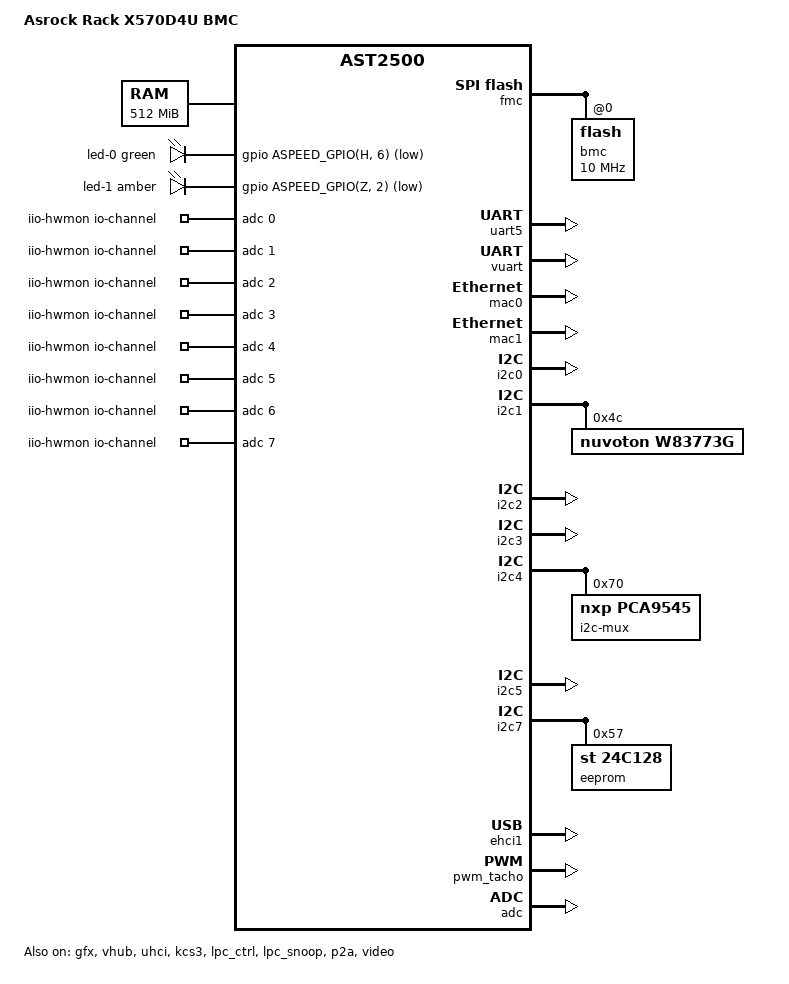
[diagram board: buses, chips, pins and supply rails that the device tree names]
// SPDX-License-Identifier: GPL-2.0+
/dts-v1/;
#include "aspeed-g5.dtsi"
#include <dt-bindings/gpio/aspeed-gpio.h>
#include <dt-bindings/leds/common.h>

/ {
	model = "Asrock Rack X570D4U BMC";
	compatible = "asrock,x570d4u-bmc", "aspeed,ast2500";

	aliases {
		i2c40 = &i2c4mux0ch0;
		i2c41 = &i2c4mux0ch1;
		i2c42 = &i2c4mux0ch2;
		i2c43 = &i2c4mux0ch3;
	};

	chosen {
		stdout-path = &uart5;
	};

	memory@80000000 {
		reg = <0x80000000 0x20000000>;
	};

	reserved-memory {
		#address-cells = <1>;
		#size-cells = <1>;
		ranges;

		pci_memory: region@9a000000 {
			no-map;
			reg = <0x9a000000 0x00010000>; /* 64K */
		};

		video_engine_memory: jpegbuffer {
			size = <0x02800000>;	/* 40M */
			alignment = <0x01000000>;
			compatible = "shared-dma-pool";
			reusable;
		};

		gfx_memory: framebuffer {
			size = <0x01000000>;
			alignment = <0x01000000>;
			compatible = "shared-dma-pool";
			reusable;
		};
	};

	leds {
		compatible = "gpio-leds";

		led-0 {
			/* led-heartbeat-n */
			gpios = <&gpio ASPEED_GPIO(H, 6) GPIO_ACTIVE_LOW>;
			color = <LED_COLOR_ID_GREEN>;
			function = LED_FUNCTION_HEARTBEAT;
			linux,default-trigger = "timer";
		};

		led-1 {
			/* led-fault-n */
			gpios = <&gpio ASPEED_GPIO(Z, 2) GPIO_ACTIVE_LOW>;
			color = <LED_COLOR_ID_AMBER>;
			function = LED_FUNCTION_FAULT;
			panic-indicator;
		};
	};

	iio-hwmon {
		compatible = "iio-hwmon";
		io-channels = <&adc 0>, <&adc 1>, <&adc 2>, <&adc 3>, <&adc 4>,
			<&adc 5>, <&adc 6>, <&adc 7>, <&adc 8>, <&adc 9>,
			<&adc 10>, <&adc 11>, <&adc 12>;
	};
};

&gpio {
	status = "okay";
	gpio-line-names =
	/*  A */ "input-locatorled-n", "", "", "", "", "", "", "",
	/*  B */ "input-bios-post-cmplt-n", "", "", "", "", "", "", "",
	/*  C */ "", "", "", "", "", "", "control-locatorbutton-n", "",
	/*  D */ "button-power-n", "control-power-n", "button-reset-n",
		 "control-reset-n", "", "", "", "",
	/*  E */ "", "", "", "", "", "", "", "",
	/*  F */ "", "", "", "", "", "", "", "",
	/*  G */ "output-hwm-vbat-enable", "input-id0-n", "input-id1-n",
		 "input-id2-n", "input-aux-smb-alert-n", "",
		 "input-psu-smb-alert-n", "",
	/*  H */ "", "", "", "", "input-mfg-mode-n", "",
		 "led-heartbeat-n", "input-case-open-n",
	/*  I */ "", "", "", "", "", "", "", "",
	/*  J */ "output-bmc-ready-n", "", "", "", "", "", "", "",
	/*  K */ "", "", "", "", "", "", "", "",
	/*  L */ "", "", "", "", "", "", "", "",
	/*  M */ "", "", "", "", "", "", "", "",
	/*  N */ "", "", "", "", "", "", "", "",
	/*  O */ "", "", "", "", "", "", "", "",
	/*  P */ "", "", "", "", "", "", "", "",
	/*  Q */ "", "", "", "", "input-bmc-smb-present-n", "", "",
		 "input-pcie-wake-n",
	/*  R */ "", "", "", "", "", "", "", "",
	/*  S */ "input-bmc-pchhot-n", "", "", "", "", "", "", "",
	/*  T */ "", "", "", "", "", "", "", "",
	/*  U */ "", "", "", "", "", "", "", "",
	/*  V */ "", "", "", "", "", "", "", "",
	/*  W */ "", "", "", "", "", "", "", "",
	/*  X */ "", "", "", "", "", "", "", "",
	/*  Y */ "input-sleep-s3-n", "input-sleep-s5-n", "", "", "", "",
		 "", "",
	/*  Z */ "", "", "led-fault-n", "output-bmc-throttle-n", "", "",
		 "", "",
	/* AA */ "input-cpu1-thermtrip-latch-n", "",
		 "input-cpu1-prochot-n", "", "", "", "", "",
	/* AB */ "", "input-power-good", "", "", "", "", "", "",
	/* AC */ "", "", "", "", "", "", "", "";
};

&fmc {
	status = "okay";
	flash@0 {
		status = "okay";
		label = "bmc";
		m25p,fast-read;
		spi-max-frequency = <10000000>;
#include "openbmc-flash-layout-64.dtsi"
	};
};

&uart5 {
	status = "okay";
};

&vuart {
	status = "okay";
};

&mac0 {
	status = "okay";
	pinctrl-names = "default";
	pinctrl-0 = <&pinctrl_rgmii1_default &pinctrl_mdio1_default>;

	nvmem-cells = <&eth0_macaddress>;
	nvmem-cell-names = "mac-address";
};

&mac1 {
	status = "okay";
	pinctrl-names = "default";
	pinctrl-0 = <&pinctrl_rmii2_default &pinctrl_mdio2_default>;
	use-ncsi;

	nvmem-cells = <&eth1_macaddress>;
	nvmem-cell-names = "mac-address";
};

&i2c0 {
	/* SMBus on auxiliary panel header (AUX_PANEL1) */
	status = "okay";
};

&i2c1 {
	status = "okay";

	w83773g@4c {
		compatible = "nuvoton,w83773g";
		reg = <0x4c>;
	};
};

&i2c2 {
	/* PSU SMBus (PSU_SMB1) */
	status = "okay";
};

&i2c3 {
	status = "okay";
};

&i2c4 {
	status = "okay";

	i2c-mux@70 {
		compatible = "nxp,pca9545";
		reg = <0x70>;
		#address-cells = <1>;
		#size-cells = <0>;

		i2c4mux0ch0: i2c@0 {
			/* SMBus on PCI express 16x slot */
			#address-cells = <1>;
			#size-cells = <0>;
			reg = <0>;
		};

		i2c4mux0ch1: i2c@1 {
			/* SMBus on PCI express 8x slot */
			#address-cells = <1>;
			#size-cells = <0>;
			reg = <1>;
		};

		i2c4mux0ch2: i2c@2 {
			/* Unknown */
			#address-cells = <1>;
			#size-cells = <0>;
			reg = <2>;
		};

		i2c4mux0ch3: i2c@3 {
			/* SMBus on PCI express 1x slot */
			#address-cells = <1>;
			#size-cells = <0>;
			reg = <3>;
		};
	};
};

&i2c5 {
	status = "okay";
};

&i2c7 {
	/* FRU and SPD EEPROM SMBus */
	status = "okay";

	eeprom@57 {
		compatible = "st,24c128", "atmel,24c128";
		reg = <0x57>;
		pagesize = <16>;
		#address-cells = <1>;
		#size-cells = <1>;

		eth0_macaddress: macaddress@3f80 {
			reg = <0x3f80 6>;
		};

		eth1_macaddress: macaddress@3f88 {
			reg = <0x3f88 6>;
		};
	};
};

&gfx {
	status = "okay";
};

&pinctrl {
	aspeed,external-nodes = <&gfx &lhc>;
};

&vhub {
	status = "okay";
};

&ehci1 {
	status = "okay";
};

&uhci {
	status = "okay";
};

&kcs3 {
	aspeed,lpc-io-reg = <0xca2>;
	status = "okay";
};

&lpc_ctrl {
	status = "okay";
};

&lpc_snoop {
	status = "okay";
	snoop-ports = <0x80>;
};

&p2a {
	status = "okay";
	memory-region = <&pci_memory>;
};

&video {
	status = "okay";
	memory-region = <&video_engine_memory>;
};

&pwm_tacho {
	status = "okay";
	pinctrl-names = "default";
	pinctrl-0 = <&pinctrl_pwm0_default
				&pinctrl_pwm1_default
				&pinctrl_pwm2_default
				&pinctrl_pwm3_default
				&pinctrl_pwm4_default
				&pinctrl_pwm5_default>;

	fan@0 {
		/* FAN1 (4-pin) */
		reg = <0x00>;
		aspeed,fan-tach-ch = /bits/ 8 <0x00>;
	};

	fan@1 {
		/* FAN2 (4-pin) */
		reg = <0x01>;
		aspeed,fan-tach-ch = /bits/ 8 <0x01>;
	};

	fan@2 {
		/* FAN3 (4-pin) */
		reg = <0x02>;
		aspeed,fan-tach-ch = /bits/ 8 <0x02>;
	};

	fan@3 {
		/* FAN4 (6-pin) */
		reg = <0x03>;
		aspeed,fan-tach-ch = /bits/ 8 <0x04 0x0b>;
	};

	fan@4 {
		/* FAN6 (6-pin) */
		reg = <0x04>;
		aspeed,fan-tach-ch = /bits/ 8 <0x06 0x0d>;
	};

	fan@5 {
		/* FAN5 (6-pin) */
		reg = <0x05>;
		aspeed,fan-tach-ch = /bits/ 8 <0x05 0x0c>;
	};
};

&adc {
	status = "okay";
	pinctrl-names = "default";
	pinctrl-0 = <&pinctrl_adc0_default
				&pinctrl_adc1_default
				&pinctrl_adc2_default
				&pinctrl_adc3_default
				&pinctrl_adc4_default
				&pinctrl_adc5_default
				&pinctrl_adc6_default
				&pinctrl_adc7_default
				&pinctrl_adc8_default
				&pinctrl_adc9_default
				&pinctrl_adc10_default
				&pinctrl_adc11_default
				&pinctrl_adc12_default
				&pinctrl_adc13_default
				&pinctrl_adc14_default
				&pinctrl_adc15_default>;
};
